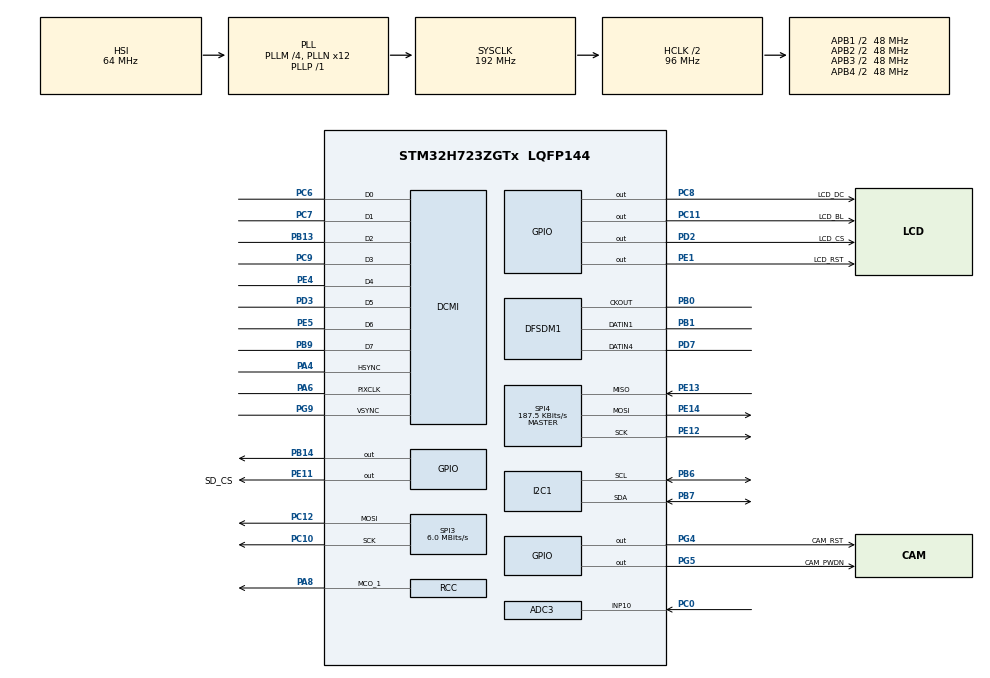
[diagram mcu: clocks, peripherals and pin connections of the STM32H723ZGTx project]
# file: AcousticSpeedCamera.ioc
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ADC3.Channel-0\#ChannelRegularConversion=ADC_CHANNEL_10
ADC3.NbrOfConversionFlag=1
ADC3.OffsetNumber-0\#ChannelRegularConversion=ADC_OFFSET_NONE
ADC3.OffsetSign-0\#ChannelRegularConversion=ADC3_OFFSET_SIGN_NEGATIVE
ADC3.Rank-0\#ChannelRegularConversion=1
ADC3.SamplingTime-0\#ChannelRegularConversion=ADC3_SAMPLETIME_247CYCLES_5
CORTEX_M7.AccessPermission_S-Cortex_Memory_Protection_Unit_Region1_Settings_S=MPU_REGION_FULL_ACCESS
CORTEX_M7.BaseAddress_S-Cortex_Memory_Protection_Unit_Region1_Settings_S=0x24000000
CORTEX_M7.DisableExec_S-Cortex_Memory_Protection_Unit_Region1_Settings_S=MPU_INSTRUCTION_ACCESS_DISABLE
CORTEX_M7.Enable_S-Cortex_Memory_Protection_Unit_Region1_Settings_S=MPU_REGION_ENABLE
CORTEX_M7.IsShareable_S-Cortex_Memory_Protection_Unit_Region1_Settings_S=MPU_ACCESS_SHAREABLE
CORTEX_M7.Size_S-Cortex_Memory_Protection_Unit_Region1_Settings_S=MPU_REGION_SIZE_256KB
CORTEX_M7.TypeExtField_S-Cortex_Memory_Protection_Unit_Region1_Settings_S=MPU_TEX_LEVEL1
CORTEX_M7.default_mode_Activation=1
DCMI.HSPolarity=DCMI_HSPOLARITY_HIGH
DCMI.PCKPolarity=DCMI_PCKPOLARITY_RISING
DCMI.VSPolarity=DCMI_VSPOLARITY_HIGH
DFSDM1.Divider=16
DFSDM1.DmaMode_reg_FIL0=ENABLE
DFSDM1.DmaMode_reg_FIL1=ENABLE
DFSDM1.FastMode_reg_FIL0=ENABLE
DFSDM1.FastMode_reg_FIL1=ENABLE
DFSDM1.FilterOrder_CH1=DFSDM_CHANNEL_SINC3_ORDER
DFSDM1.FilterOrder_CH4=DFSDM_CHANNEL_SINC3_ORDER
DFSDM1.Filter_regChannel_FIL0=DFSDM_CHANNEL_1
DFSDM1.Filter_regChannel_FIL1=DFSDM_CHANNEL_4
DFSDM1.Fosr_FIL0=64
DFSDM1.Fosr_FIL1=64
DFSDM1.RightBitShift_CH1=0x03
DFSDM1.SincOrder_FIL0=DFSDM_FILTER_SINC3_ORDER
DFSDM1.SincOrder_FIL1=DFSDM_FILTER_SINC3_ORDER
DFSDM1.Type_spi_CH1=DFSDM_CHANNEL_SPI_FALLING
Dma.DCMI.3.Direction=DMA_PERIPH_TO_MEMORY
Dma.DCMI.3.EventEnable=DISABLE
Dma.DCMI.3.FIFOMode=DMA_FIFOMODE_DISABLE
Dma.DCMI.3.Instance=DMA1_Stream7
Dma.DCMI.3.MemDataAlignment=DMA_MDATAALIGN_WORD
Dma.DCMI.3.MemInc=DMA_MINC_ENABLE
Dma.DCMI.3.Mode=DMA_NORMAL
Dma.DCMI.3.PeriphDataAlignment=DMA_PDATAALIGN_WORD
Dma.DCMI.3.PeriphInc=DMA_PINC_DISABLE
Dma.DCMI.3.Polarity=HAL_DMAMUX_REQ_GEN_RISING
Dma.DCMI.3.Priority=DMA_PRIORITY_LOW
Dma.DCMI.3.RequestNumber=1
Dma.DCMI.3.SignalID=NONE
Dma.DCMI.3.SyncEnable=DISABLE
Dma.DCMI.3.SyncPolarity=HAL_DMAMUX_SYNC_NO_EVENT
Dma.DCMI.3.SyncRequestNumber=1
Dma.DCMI.3.SyncSignalID=NONE
Dma.DFSDM1_FLT0.0.Direction=DMA_PERIPH_TO_MEMORY
Dma.DFSDM1_FLT0.0.EventEnable=DISABLE
Dma.DFSDM1_FLT0.0.FIFOMode=DMA_FIFOMODE_DISABLE
Dma.DFSDM1_FLT0.0.Instance=DMA1_Stream0
Dma.DFSDM1_FLT0.0.MemDataAlignment=DMA_MDATAALIGN_WORD
Dma.DFSDM1_FLT0.0.MemInc=DMA_MINC_ENABLE
Dma.DFSDM1_FLT0.0.Mode=DMA_CIRCULAR
Dma.DFSDM1_FLT0.0.PeriphDataAlignment=DMA_PDATAALIGN_WORD
Dma.DFSDM1_FLT0.0.PeriphInc=DMA_PINC_DISABLE
Dma.DFSDM1_FLT0.0.Polarity=HAL_DMAMUX_REQ_GEN_RISING
Dma.DFSDM1_FLT0.0.Priority=DMA_PRIORITY_VERY_HIGH
Dma.DFSDM1_FLT0.0.RequestNumber=1
Dma.DFSDM1_FLT0.0.SignalID=NONE
Dma.DFSDM1_FLT0.0.SyncEnable=DISABLE
Dma.DFSDM1_FLT0.0.SyncPolarity=HAL_DMAMUX_SYNC_NO_EVENT
Dma.DFSDM1_FLT0.0.SyncRequestNumber=1
Dma.DFSDM1_FLT0.0.SyncSignalID=NONE
Dma.DFSDM1_FLT1.1.Direction=DMA_PERIPH_TO_MEMORY
Dma.DFSDM1_FLT1.1.EventEnable=DISABLE
Dma.DFSDM1_FLT1.1.FIFOMode=DMA_FIFOMODE_DISABLE
Dma.DFSDM1_FLT1.1.Instance=DMA1_Stream1
Dma.DFSDM1_FLT1.1.MemDataAlignment=DMA_MDATAALIGN_WORD
Dma.DFSDM1_FLT1.1.MemInc=DMA_MINC_ENABLE
Dma.DFSDM1_FLT1.1.Mode=DMA_CIRCULAR
Dma.DFSDM1_FLT1.1.PeriphDataAlignment=DMA_PDATAALIGN_WORD
Dma.DFSDM1_FLT1.1.PeriphInc=DMA_PINC_DISABLE
Dma.DFSDM1_FLT1.1.Polarity=HAL_DMAMUX_REQ_GEN_RISING
Dma.DFSDM1_FLT1.1.Priority=DMA_PRIORITY_VERY_HIGH
Dma.DFSDM1_FLT1.1.RequestNumber=1
Dma.DFSDM1_FLT1.1.SignalID=NONE
Dma.DFSDM1_FLT1.1.SyncEnable=DISABLE
Dma.DFSDM1_FLT1.1.SyncPolarity=HAL_DMAMUX_SYNC_NO_EVENT
Dma.DFSDM1_FLT1.1.SyncRequestNumber=1
Dma.DFSDM1_FLT1.1.SyncSignalID=NONE
Dma.Request0=DFSDM1_FLT0
Dma.Request1=DFSDM1_FLT1
Dma.Request2=SPI3_TX
Dma.Request3=DCMI
Dma.Request4=SPI4_RX
Dma.Request5=SPI4_TX
Dma.SPI3_TX.2.Direction=DMA_MEMORY_TO_PERIPH
Dma.SPI3_TX.2.EventEnable=DISABLE
Dma.SPI3_TX.2.FIFOMode=DMA_FIFOMODE_DISABLE
Dma.SPI3_TX.2.Instance=DMA1_Stream4
Dma.SPI3_TX.2.MemDataAlignment=DMA_MDATAALIGN_BYTE
Dma.SPI3_TX.2.MemInc=DMA_MINC_ENABLE
Dma.SPI3_TX.2.Mode=DMA_NORMAL
Dma.SPI3_TX.2.PeriphDataAlignment=DMA_PDATAALIGN_BYTE
Dma.SPI3_TX.2.PeriphInc=DMA_PINC_DISABLE
Dma.SPI3_TX.2.Polarity=HAL_DMAMUX_REQ_GEN_RISING
Dma.SPI3_TX.2.Priority=DMA_PRIORITY_LOW
Dma.SPI3_TX.2.RequestNumber=1
Dma.SPI3_TX.2.SignalID=NONE
Dma.SPI3_TX.2.SyncEnable=DISABLE
Dma.SPI3_TX.2.SyncPolarity=HAL_DMAMUX_SYNC_NO_EVENT
Dma.SPI3_TX.2.SyncRequestNumber=1
Dma.SPI3_TX.2.SyncSignalID=NONE
Dma.SPI4_RX.4.Direction=DMA_PERIPH_TO_MEMORY
Dma.SPI4_RX.4.EventEnable=DISABLE
Dma.SPI4_RX.4.FIFOMode=DMA_FIFOMODE_DISABLE
Dma.SPI4_RX.4.Instance=DMA1_Stream2
Dma.SPI4_RX.4.MemDataAlignment=DMA_MDATAALIGN_BYTE
Dma.SPI4_RX.4.MemInc=DMA_MINC_ENABLE
Dma.SPI4_RX.4.Mode=DMA_NORMAL
Dma.SPI4_RX.4.PeriphDataAlignment=DMA_PDATAALIGN_BYTE
Dma.SPI4_RX.4.PeriphInc=DMA_PINC_DISABLE
Dma.SPI4_RX.4.Polarity=HAL_DMAMUX_REQ_GEN_RISING
Dma.SPI4_RX.4.Priority=DMA_PRIORITY_LOW
Dma.SPI4_RX.4.RequestNumber=1
Dma.SPI4_RX.4.SignalID=NONE
Dma.SPI4_RX.4.SyncEnable=DISABLE
Dma.SPI4_RX.4.SyncPolarity=HAL_DMAMUX_SYNC_NO_EVENT
Dma.SPI4_RX.4.SyncRequestNumber=1
Dma.SPI4_RX.4.SyncSignalID=NONE
Dma.SPI4_TX.5.Direction=DMA_MEMORY_TO_PERIPH
Dma.SPI4_TX.5.EventEnable=DISABLE
Dma.SPI4_TX.5.FIFOMode=DMA_FIFOMODE_DISABLE
Dma.SPI4_TX.5.Instance=DMA1_Stream3
Dma.SPI4_TX.5.MemDataAlignment=DMA_MDATAALIGN_BYTE
Dma.SPI4_TX.5.MemInc=DMA_MINC_ENABLE
Dma.SPI4_TX.5.Mode=DMA_NORMAL
Dma.SPI4_TX.5.PeriphDataAlignment=DMA_PDATAALIGN_BYTE
Dma.SPI4_TX.5.PeriphInc=DMA_PINC_DISABLE
Dma.SPI4_TX.5.Polarity=HAL_DMAMUX_REQ_GEN_RISING
Dma.SPI4_TX.5.Priority=DMA_PRIORITY_LOW
Dma.SPI4_TX.5.RequestNumber=1
Dma.SPI4_TX.5.SignalID=NONE
Dma.SPI4_TX.5.SyncEnable=DISABLE
Dma.SPI4_TX.5.SyncPolarity=HAL_DMAMUX_SYNC_NO_EVENT
Dma.SPI4_TX.5.SyncRequestNumber=1
Dma.SPI4_TX.5.SyncSignalID=NONE
FREERTOS.Tasks01=defaultTask,24,128,StartDefaultTask,Default,NULL,Dynamic,NULL,NULL
FREERTOS.configTOTAL_HEAP_SIZE=61440
FREERTOS.configUSE_NEWLIB_REENTRANT=1
I2C1.Timing=0x20303E5D
Mcu.Family=STM32H7
Mcu.Name=STM32H723ZGTx
Mcu.Package=LQFP144
NUCLEO-H723ZG.VCP=true
NVIC.DCMI_PSSI_IRQn=true\:5\:0\:false\:false\:true\:true\:true\:true\:true
NVIC.DFSDM1_FLT0_IRQn=true\:5\:0\:false\:false\:true\:true\:true\:true\:true
NVIC.DFSDM1_FLT1_IRQn=true\:5\:0\:false\:false\:true\:true\:true\:true\:true
NVIC.DMA1_Stream0_IRQn=true\:5\:0\:false\:false\:true\:true\:false\:true\:true
NVIC.DMA1_Stream1_IRQn=true\:5\:0\:false\:false\:true\:true\:false\:true\:true
NVIC.DMA1_Stream2_IRQn=true\:5\:0\:false\:false\:true\:true\:false\:true\:true
NVIC.DMA1_Stream3_IRQn=true\:5\:0\:false\:false\:true\:true\:false\:true\:true
NVIC.DMA1_Stream4_IRQn=true\:7\:0\:true\:false\:true\:true\:false\:true\:true
NVIC.DMA1_Stream7_IRQn=true\:6\:0\:true\:false\:true\:false\:false\:true\:true
NVIC.PriorityGroup=NVIC_PRIORITYGROUP_4
NVIC.SPI3_IRQn=true\:5\:0\:false\:false\:true\:true\:false\:true\:true
NVIC.SPI4_IRQn=true\:5\:0\:false\:false\:true\:true\:true\:true\:true
NVIC.TIM6_DAC_IRQn=true\:15\:0\:false\:false\:true\:false\:false\:true\:true
NVIC.TimeBase=TIM6_DAC_IRQn
NVIC.TimeBaseIP=TIM6
PA13(JTMS/SWDIO).GPIO_Label=SWDIO
PA13(JTMS/SWDIO).Signal=DEBUG_JTMS-SWDIO
PA14(JTCK/SWCLK).GPIO_Label=SWCLK
PA14(JTCK/SWCLK).Signal=DEBUG_JTCK-SWCLK
PA4.Mode=Slave_8_bits_External_Synchro
PA4.Signal=DCMI_HSYNC
PA6.Mode=Slave_8_bits_External_Synchro
PA6.Signal=DCMI_PIXCLK
PA8.GPIO_Speed=GPIO_SPEED_FREQ_VERY_HIGH
PA8.Mode=Clock-out-1
PA8.Signal=RCC_MCO_1
PA8.Stacked=true
PB0.Signal=S_CKOUTDFSDM1
PB1.Signal=S_DATAIN1DFSDM1
PB13.Mode=Slave_8_bits_External_Synchro
PB13.Signal=DCMI_D2
PB14.Signal=GPIO_Output
PB6.GPIO_Pu=GPIO_PULLUP
PB6.Mode=I2C
PB6.Signal=I2C1_SCL
PB7.GPIO_Pu=GPIO_PULLUP
PB7.Mode=I2C
PB7.Signal=I2C1_SDA
PB9.Mode=Slave_8_bits_External_Synchro
PB9.Signal=DCMI_D7
PC0.Signal=ADCx_INP10
PC10.GPIO_Speed=GPIO_SPEED_FREQ_VERY_HIGH
PC10.Mode=TX_Only_Simplex_Unidirect_Master
PC10.Signal=SPI3_SCK
PC11.GPIO_Label=LCD_BL
PC11.Signal=GPIO_Output
PC12.GPIO_Speed=GPIO_SPEED_FREQ_VERY_HIGH
PC12.Mode=TX_Only_Simplex_Unidirect_Master
PC12.Signal=SPI3_MOSI
PC14-OSC32_IN.Mode=LSE-External-Oscillator
PC14-OSC32_IN.Signal=RCC_OSC32_IN
PC15-OSC32_OUT.Mode=LSE-External-Oscillator
PC15-OSC32_OUT.Signal=RCC_OSC32_OUT
PC6.Mode=Slave_8_bits_External_Synchro
PC6.Signal=DCMI_D0
PC7.Mode=Slave_8_bits_External_Synchro
PC7.Signal=DCMI_D1
PC8.GPIO_Label=LCD_DC
PC8.Signal=GPIO_Output
PC9.Mode=Slave_8_bits_External_Synchro
PC9.Signal=DCMI_D3
PD2.GPIO_Label=LCD_CS
PD2.Signal=GPIO_Output
PD3.Mode=Slave_8_bits_External_Synchro
PD3.Signal=DCMI_D5
PD7.Signal=S_DATAIN4DFSDM1
PD8.Signal=USART3_TX
PD9.Signal=USART3_RX
PE1.GPIO_Label=LCD_RST
PE1.Signal=GPIO_Output
PE11.GPIO_Label=SD_CS
PE11.Signal=GPIO_Output
PE12.Mode=Full_Duplex_Master
PE12.Signal=SPI4_SCK
PE13.Mode=Full_Duplex_Master
PE13.Signal=SPI4_MISO
PE14.Mode=Full_Duplex_Master
PE14.Signal=SPI4_MOSI
PE4.Mode=Slave_8_bits_External_Synchro
PE4.Signal=DCMI_D4
PE5.Mode=Slave_8_bits_External_Synchro
PE5.Signal=DCMI_D6
PG4.GPIO_Label=CAM_RST
PG4.Signal=GPIO_Output
PG5.GPIO_Label=CAM_PWDN
PG5.Signal=GPIO_Output
PG9.Mode=Slave_8_bits_External_Synchro
PG9.Signal=DCMI_VSYNC
PH0-OSC_IN.Mode=HSE-External-Clock-Source
PH0-OSC_IN.Signal=RCC_OSC_IN
ProjectManager.HeapSize=0x200
ProjectManager.StackSize=0x400
ProjectManager.TargetToolchain=STM32CubeIDE
RCC.ADCCLockSelection=RCC_ADCCLKSOURCE_PLL3
RCC.ADCFreq_Value=48000000
RCC.APB1Freq_Value=48000000
RCC.APB2Freq_Value=48000000
RCC.APB3Freq_Value=48000000
RCC.APB4Freq_Value=48000000
RCC.CortexFreq_Value=192000000
RCC.D1PPRE=RCC_APB3_DIV2
RCC.D2PPRE1=RCC_APB1_DIV2
RCC.D2PPRE2=RCC_APB2_DIV2
RCC.D3PPRE=RCC_APB4_DIV2
RCC.DIVM1=4
RCC.DIVM2=4
RCC.DIVM3=4
RCC.DIVN1=12
RCC.DIVN2=12
RCC.DIVN3=12
RCC.DIVP1=1
RCC.DIVQ1=4
RCC.DIVR3=4
RCC.HCLKFreq_Value=96000000
RCC.HPRE=RCC_HCLK_DIV2
RCC.HSE_VALUE=8000000
RCC.PLL2FRACN=0
RCC.PLL3FRACN=0
RCC.PLLFRACN=0
RCC.RCC_MCO1Source=RCC_MCO1SOURCE_PLL1QCLK
RCC.RCC_MCODiv1=RCC_MCODIV_2
RCC.SYSCLKFreq_VALUE=192000000
RCC.SYSCLKSource=RCC_SYSCLKSOURCE_PLLCLK
RCC.USBCLockSelection=RCC_USBCLKSOURCE_HSI48
RCC.USBFreq_Value=48000000
SH.ADCx_INP10.0=ADC3_INP10,IN10-Single-Ended
SH.S_CKOUTDFSDM1.0=DFSDM1_CKOUT,PDM_SPI_input_from_ch1_and_internal_clock
SH.S_CKOUTDFSDM1.1=DFSDM1_CKOUT,PDM_SPI_input_from_ch4_and_internal_clock
SH.S_DATAIN1DFSDM1.0=DFSDM1_DATIN1,PDM_SPI_input_from_ch1_and_internal_clock
SH.S_DATAIN4DFSDM1.0=DFSDM1_DATIN4,PDM_SPI_input_from_ch4_and_internal_clock
SPI3.BaudRatePrescaler=SPI_BAUDRATEPRESCALER_8
SPI3.CalculateBaudRate=6.0 MBits/s
SPI3.DataSize=SPI_DATASIZE_8BIT
SPI3.Direction=SPI_DIRECTION_2LINES_TXONLY
SPI3.Mode=SPI_MODE_MASTER
SPI3.NSSPMode=SPI_NSS_PULSE_DISABLE
SPI3.VirtualType=VM_MASTER
SPI4.BaudRatePrescaler=SPI_BAUDRATEPRESCALER_256
SPI4.CLKPhase=SPI_PHASE_2EDGE
SPI4.CLKPolarity=SPI_POLARITY_HIGH
SPI4.CalculateBaudRate=187.5 KBits/s
SPI4.DataSize=SPI_DATASIZE_8BIT
SPI4.Direction=SPI_DIRECTION_2LINES
SPI4.Mode=SPI_MODE_MASTER
SPI4.NSSPMode=SPI_NSS_PULSE_DISABLE
SPI4.VirtualType=VM_MASTER
VP_FATFS_VS_Generic.Mode=User_defined
VP_FREERTOS_VS_CMSIS_V2.Mode=CMSIS_V2
VP_MEMORYMAP_VS_MEMORYMAP.Mode=CurAppReg
VP_NUCLEO-H723ZG_VS_BSP_COMMON.Mode=COMMON
VP_RTC_VS_RTC_Activate.Mode=RTC_Enabled
VP_RTC_VS_RTC_Calendar.Mode=RTC_Calendar
VP_SYS_VS_tim6.Mode=TIM6
board=NUCLEO-H723ZG

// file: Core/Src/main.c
/* USER CODE BEGIN Header */
/**
  ******************************************************************************
  * @file           : main.c
  * @brief          : Main program body
  ******************************************************************************
  * @attention
  *
  * Copyright (c) 2026 STMicroelectronics.
  * All rights reserved.
  *
  * This software is licensed under terms that can be found in the LICENSE file
  * in the root directory of this software component.
  * If no LICENSE file comes with this software, it is provided AS-IS.
  *
  ******************************************************************************
  */
/* USER CODE END Header */
#include "main.h"
#include "cmsis_os.h"
#include "adc.h"
#include "dcmi.h"
#include "dfsdm.h"
#include "dma.h"
#include "fatfs.h"
#include "i2c.h"
#include "rtc.h"
#include "spi.h"
#include "gpio.h"

/* USER CODE BEGIN Includes */
#include <stdio.h>
#include <string.h>
#include "audio_processor.h"
#include "sd_spi.h"
#include "os_objects.h"
#include "ili9341.h"
#include "lvgl.h"

/* USER CODE END Includes */

COM_InitTypeDef BspCOMInit;

/* USER CODE BEGIN PV */
extern ILI9341_HandleTypeDef lcd;
extern volatile lv_display_t *active_disp;
extern osThreadId_t audioTaskHandle;

/* USER CODE END PV */

void SystemClock_Config(void);
static void MPU_Config(void);
void MX_FREERTOS_Init(void);

/* USER CODE BEGIN 0 */
void HAL_SPI_TxRxCpltCallback(SPI_HandleTypeDef *hspi) {
	if(hspi->Instance == SPI4) {
		osSemaphoreRelease(s_spi_dma_sem);
	}
}

void HAL_DFSDM_FilterRegConvHalfCpltCallback(DFSDM_Filter_HandleTypeDef *hdfsdm) {
	if(hdfsdm == &hdfsdm1_filter0) {
		osThreadFlagsSet(audioTaskHandle, 0x01);
	}

	if(hdfsdm == &hdfsdm1_filter1) {
		osThreadFlagsSet(audioTaskHandle, 0x01);
	}
}

void HAL_DFSDM_FilterRegConvCpltCallback(DFSDM_Filter_HandleTypeDef *hdfsdm) {
	if(hdfsdm == &hdfsdm1_filter0) {
		osThreadFlagsSet(audioTaskHandle, 0x02);
	}

	if(hdfsdm == &hdfsdm1_filter1) {
		osThreadFlagsSet(audioTaskHandle, 0x02);
	}
}

void HAL_SPI_TxCpltCallback(SPI_HandleTypeDef *hspi) {
	if(hspi->Instance == SPI3) {
		HAL_GPIO_WritePin(lcd.cs_port, lcd.cs_pin, GPIO_PIN_SET);

		if(active_disp != NULL) {
			lv_display_flush_ready((lv_display_t*)active_disp);
		}
	}
}

/* USER CODE END 0 */

int main(void)
{

  /* MPU Configuration--------------------------------------------------------*/
  MPU_Config();

  /* MCU Configuration--------------------------------------------------------*/

  /* Reset of all peripherals, Initializes the Flash interface and the Systick. */
  HAL_Init();

  /* Configure the system clock */
  SystemClock_Config();

  /* Initialize all configured peripherals */
  MX_GPIO_Init();
  MX_DMA_Init();
  MX_DFSDM1_Init();
  MX_SPI3_Init();
  MX_DCMI_Init();
  MX_I2C1_Init();
  MX_ADC3_Init();
  MX_SPI4_Init();
  MX_FATFS_Init();
  MX_RTC_Init();
  /* USER CODE BEGIN 2 */
  RTC_TimeTypeDef sTime = {0};
  RTC_DateTypeDef sDate = {0};

  sTime.Hours = 21;
  sTime.Minutes = 10;
  sTime.Seconds = 0;
  sTime.DayLightSaving = RTC_DAYLIGHTSAVING_NONE;
  sTime.StoreOperation = RTC_STOREOPERATION_RESET;

  if(HAL_RTC_SetTime(&hrtc, &sTime, RTC_FORMAT_BIN) != HAL_OK) {
	  Error_Handler();
  }

  sDate.WeekDay = RTC_WEEKDAY_SATURDAY;
  sDate.Month = RTC_MONTH_SEPTEMBER;
  sDate.Date = 26;
  sDate.Year = 26;

  if(HAL_RTC_SetDate(&hrtc, &sDate, RTC_FORMAT_BIN) != HAL_OK) {
	  Error_Handler();
  }
  /* USER CODE END 2 */

  /* Init scheduler */
  osKernelInitialize();  /* Call init function for freertos objects (in cmsis_os2.c) */
  MX_FREERTOS_Init();

  /* Initialize COM1 port (115200, 8 bits (7-bit data + 1 stop bit), no parity */
  BspCOMInit.BaudRate   = 115200;
  BspCOMInit.WordLength = COM_WORDLENGTH_8B;
  BspCOMInit.StopBits   = COM_STOPBITS_1;
  BspCOMInit.Parity     = COM_PARITY_NONE;
  BspCOMInit.HwFlowCtl  = COM_HWCONTROL_NONE;
  if (BSP_COM_Init(COM1, &BspCOMInit) != BSP_ERROR_NONE)
  {
    Error_Handler();
  }

  /* Start scheduler */
  osKernelStart();

  /* We should never get here as control is now taken by the scheduler */

  /* Infinite loop */
  while (1)
  {

  }
}

void SystemClock_Config(void)
{
  RCC_OscInitTypeDef RCC_OscInitStruct = {0};
  RCC_ClkInitTypeDef RCC_ClkInitStruct = {0};

  /** Supply configuration update enable
  */
  HAL_PWREx_ConfigSupply(PWR_LDO_SUPPLY);

  /** Configure the main internal regulator output voltage
  */
  __HAL_PWR_VOLTAGESCALING_CONFIG(PWR_REGULATOR_VOLTAGE_SCALE2);

  while(!__HAL_PWR_GET_FLAG(PWR_FLAG_VOSRDY)) {}

  /** Initializes the RCC Oscillators according to the specified parameters
  * in the RCC_OscInitTypeDef structure.
  */
  RCC_OscInitStruct.OscillatorType = RCC_OSCILLATORTYPE_HSI|RCC_OSCILLATORTYPE_LSI;
  RCC_OscInitStruct.HSIState = RCC_HSI_DIV1;
  RCC_OscInitStruct.HSICalibrationValue = 64;
  RCC_OscInitStruct.LSIState = RCC_LSI_ON;
  RCC_OscInitStruct.PLL.PLLState = RCC_PLL_ON;
  RCC_OscInitStruct.PLL.PLLSource = RCC_PLLSOURCE_HSI;
  RCC_OscInitStruct.PLL.PLLM = 4;
  RCC_OscInitStruct.PLL.PLLN = 12;
  RCC_OscInitStruct.PLL.PLLP = 1;
  RCC_OscInitStruct.PLL.PLLQ = 4;
  RCC_OscInitStruct.PLL.PLLR = 2;
  RCC_OscInitStruct.PLL.PLLRGE = RCC_PLL1VCIRANGE_3;
  RCC_OscInitStruct.PLL.PLLVCOSEL = RCC_PLL1VCOWIDE;
  RCC_OscInitStruct.PLL.PLLFRACN = 0;
  if (HAL_RCC_OscConfig(&RCC_OscInitStruct) != HAL_OK)
  {
    Error_Handler();
  }

  /** Initializes the CPU, AHB and APB buses clocks
  */
  RCC_ClkInitStruct.ClockType = RCC_CLOCKTYPE_HCLK|RCC_CLOCKTYPE_SYSCLK
                              |RCC_CLOCKTYPE_PCLK1|RCC_CLOCKTYPE_PCLK2
                              |RCC_CLOCKTYPE_D3PCLK1|RCC_CLOCKTYPE_D1PCLK1;
  RCC_ClkInitStruct.SYSCLKSource = RCC_SYSCLKSOURCE_PLLCLK;
  RCC_ClkInitStruct.SYSCLKDivider = RCC_SYSCLK_DIV1;
  RCC_ClkInitStruct.AHBCLKDivider = RCC_HCLK_DIV2;
  RCC_ClkInitStruct.APB3CLKDivider = RCC_APB3_DIV2;
  RCC_ClkInitStruct.APB1CLKDivider = RCC_APB1_DIV2;
  RCC_ClkInitStruct.APB2CLKDivider = RCC_APB2_DIV2;
  RCC_ClkInitStruct.APB4CLKDivider = RCC_APB4_DIV2;

  if (HAL_RCC_ClockConfig(&RCC_ClkInitStruct, FLASH_LATENCY_1) != HAL_OK)
  {
    Error_Handler();
  }
  __HAL_RCC_PLLCLKOUT_ENABLE(RCC_PLL1_DIVQ);
  HAL_RCC_MCOConfig(RCC_MCO1, RCC_MCO1SOURCE_PLL1QCLK, RCC_MCODIV_2);
}

 /* MPU Configuration */

void MPU_Config(void)
{
  MPU_Region_InitTypeDef MPU_InitStruct = {0};

  /* Disables the MPU */
  HAL_MPU_Disable();

  /** Initializes and configures the Region and the memory to be protected
  */
  MPU_InitStruct.Enable = MPU_REGION_ENABLE;
  MPU_InitStruct.Number = MPU_REGION_NUMBER0;
  MPU_InitStruct.BaseAddress = 0x0;
  MPU_InitStruct.Size = MPU_REGION_SIZE_4GB;
  MPU_InitStruct.SubRegionDisable = 0x87;
  MPU_InitStruct.TypeExtField = MPU_TEX_LEVEL0;
  MPU_InitStruct.AccessPermission = MPU_REGION_NO_ACCESS;
  MPU_InitStruct.DisableExec = MPU_INSTRUCTION_ACCESS_DISABLE;
  MPU_InitStruct.IsShareable = MPU_ACCESS_SHAREABLE;
  MPU_InitStruct.IsCacheable = MPU_ACCESS_NOT_CACHEABLE;
  MPU_InitStruct.IsBufferable = MPU_ACCESS_NOT_BUFFERABLE;

  HAL_MPU_ConfigRegion(&MPU_InitStruct);

  /** Initializes and configures the Region and the memory to be protected
  */
  MPU_InitStruct.Number = MPU_REGION_NUMBER1;
  MPU_InitStruct.BaseAddress = 0x24000000;
  MPU_InitStruct.Size = MPU_REGION_SIZE_256KB;
  MPU_InitStruct.SubRegionDisable = 0x0;
  MPU_InitStruct.TypeExtField = MPU_TEX_LEVEL1;
  MPU_InitStruct.AccessPermission = MPU_REGION_FULL_ACCESS;

  HAL_MPU_ConfigRegion(&MPU_InitStruct);
  /* Enables the MPU */
  HAL_MPU_Enable(MPU_PRIVILEGED_DEFAULT);

}

void HAL_TIM_PeriodElapsedCallback(TIM_HandleTypeDef *htim)
{
  if (htim->Instance == TIM6)
  {
    HAL_IncTick();
  }
}

void Error_Handler(void)
{
  __disable_irq();
  while (1)
  {
  }
}

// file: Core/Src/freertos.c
/* USER CODE BEGIN Header */
/**
  ******************************************************************************
  * File Name          : freertos.c
  * Description        : Code for freertos applications
  ******************************************************************************
  * @attention
  *
  * Copyright (c) 2026 STMicroelectronics.
  * All rights reserved.
  *
  * This software is licensed under terms that can be found in the LICENSE file
  * in the root directory of this software component.
  * If no LICENSE file comes with this software, it is provided AS-IS.
  *
  ******************************************************************************
  */
/* USER CODE END Header */

#include <battery_task.h>
#include <sd_task.h>
#include "FreeRTOS.h"
#include "task.h"
#include "main.h"
#include "cmsis_os.h"

/* USER CODE BEGIN Includes */
#include <stdint.h>
#include <string.h>

#include "fatfs.h"
#include "os_objects.h"
#include "audio_task.h"
#include "display_task.h"
#include "camera_task.h"

/* USER CODE END Includes */

/* Definitions for defaultTask */
osThreadId_t defaultTaskHandle;
const osThreadAttr_t defaultTask_attributes = {
  .name = "defaultTask",
  .stack_size = 128 * 4,
  .priority = (osPriority_t) osPriorityNormal,
};

void StartDefaultTask(void *argument);

void MX_FREERTOS_Init(void); /* (MISRA C 2004 rule 8.1) */

void MX_FREERTOS_Init(void) {

  /* USER CODE BEGIN RTOS_MUTEX */
  /* add mutexes, ... */
	uartMutex = osMutexNew(&uartMutex_attr);

  /* USER CODE END RTOS_MUTEX */

  /* USER CODE BEGIN RTOS_SEMAPHORES */
  /* add semaphores, ... */
	s_spi_dma_sem = osSemaphoreNew(1, 0, NULL);

  /* USER CODE END RTOS_SEMAPHORES */

  /* USER CODE BEGIN RTOS_QUEUES */
  /* add queues, ... */
	xImageQueue = xQueueCreate(2, sizeof(ImageSaveRequest_t));
	xUiAudioStatusQueue = xQueueCreate(1, sizeof(AudioLevelUpdate_t));
	xUiSdStatusQueue = xQueueCreate(1, sizeof(uint8_t));
	xUiBatteryStatusQueue = xQueueCreate(1, sizeof(uint8_t));
	xUiStatusQueue = xQueueCreate(3, sizeof(UiStatusMsg_t));

  /* USER CODE END RTOS_QUEUES */

  /* Create the thread(s) */
  /* creation of defaultTask */
  defaultTaskHandle = osThreadNew(StartDefaultTask, NULL, &defaultTask_attributes);

  /* USER CODE BEGIN RTOS_THREADS */
  /* add threads, ... */
  displayTaskHandle = osThreadNew(vDisplayTask, NULL, &displayTask_attr);
  cameraTaskHandle = osThreadNew(vCameraTask, NULL, &cameraTask_attr);
  audioTaskHandle = osThreadNew(vAudioTask, NULL, &audioTask_attr);
  sdLoggerTaskHandle = osThreadNew(vSDLogTask, NULL, &sdLoggerTask_attr);
  batteryTaskHandle = osThreadNew(vBatteryTask, NULL, &batteryTask_attr);

  /* USER CODE END RTOS_THREADS */

}

void StartDefaultTask(void *argument)
{
  for(;;)
  {
    osDelay(1);
  }
}
